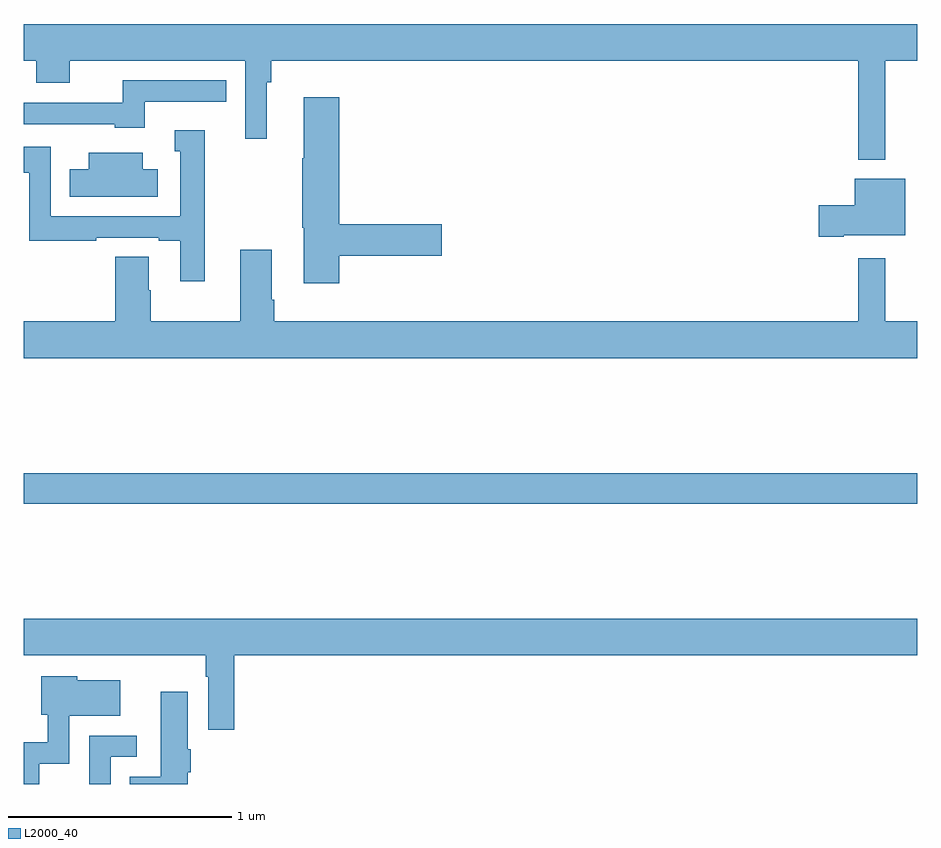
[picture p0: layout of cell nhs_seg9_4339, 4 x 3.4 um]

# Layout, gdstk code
import gdstk
lib = gdstk.Library(unit=1e-6, precision=1e-09)
def R(c, l, rs):  # rectangles x0, y0, x1, y1
    for r in rs: c.add(gdstk.rectangle(r[:2], r[2:], *l))
def P(c, l, *ps):  # polygons
    for p in ps: c.add(gdstk.Polygon(p, *l))
L2000_40 = (2000, 40)

nhs_seg9_4339 = lib.new_cell('nhs_seg9_4339')
R(nhs_seg9_4339, L2000_40, [(359,1207.756,363,1207.892)])
P(nhs_seg9_4339, L2000_40, [(362.857,1209.74),(363,1209.74),(363,1209.904),(359,1209.904),(359,1209.74),(359.054,1209.74),(359.054,1209.641),(359.206,1209.641),(359.206,1209.74),(359.991,1209.74),(359.991,1209.39),(360.088,1209.39),(360.088,1209.644),(360.107,1209.644),(360.107,1209.74),(362.736,1209.74),(362.736,1209.296),(362.857,1209.296)],
  [(359.542,1209.555),(359.906,1209.555),(359.906,1209.651),(359.443,1209.651),(359.443,1209.552),(359,1209.552),(359,1209.456),(359.406,1209.456),(359.406,1209.44),(359.542,1209.44)],
  [(360.413,1208.866),(360.871,1208.866),(360.871,1209.008),(360.413,1209.008),(360.413,1209.577),(360.254,1209.577),(360.254,1209.302),(360.247,1209.302),(360.247,1208.991),(360.254,1208.991),(360.254,1208.742),(360.413,1208.742)],
  [(359.809,1209.427),(359.675,1209.427),(359.675,1209.333),(359.7,1209.333),(359.7,1209.042),(359.121,1209.042),(359.121,1209.354),(359,1209.354),(359,1209.238),(359.023,1209.238),(359.023,1208.934),(359.324,1208.934),(359.324,1208.946),(359.603,1208.946),(359.603,1208.934),(359.699,1208.934),(359.699,1208.751),(359.809,1208.751)],
  [(359.599,1209.253),(359.533,1209.253),(359.533,1209.328),(359.291,1209.328),(359.291,1209.253),(359.206,1209.253),(359.206,1209.131),(359.599,1209.131)],
  [(362.671,1208.957),(362.947,1208.957),(362.947,1209.211),(362.72,1209.211),(362.72,1209.092),(362.559,1209.092),(362.559,1208.95),(362.671,1208.95)],
  [(363,1208.572),(362.857,1208.572),(362.857,1208.854),(362.736,1208.854),(362.736,1208.572),(360.122,1208.572),(360.122,1208.668),(360.109,1208.668),(360.109,1208.893),(359.969,1208.893),(359.969,1208.572),(359.568,1208.572),(359.568,1208.711),(359.56,1208.711),(359.56,1208.861),(359.408,1208.861),(359.408,1208.572),(359,1208.572),(359,1208.408),(363,1208.408)],
  [(359,1207.076),(359.814,1207.076),(359.814,1206.98),(359.826,1206.98),(359.826,1206.744),(359.942,1206.744),(359.942,1207.076),(363,1207.076),(363,1207.24),(359,1207.24)],
  [(359.068,1206.59),(359.202,1206.59),(359.202,1206.806),(359.431,1206.806),(359.431,1206.964),(359.238,1206.964),(359.238,1206.982),(359.078,1206.982),(359.078,1206.81),(359.106,1206.81),(359.106,1206.687),(359,1206.687),(359,1206.5),(359.068,1206.5)],
  [(359.734,1206.553),(359.747,1206.553),(359.747,1206.656),(359.734,1206.656),(359.734,1206.913),(359.612,1206.913),(359.612,1206.532),(359.473,1206.532),(359.473,1206.5),(359.734,1206.5)],
  [(359.388,1206.621),(359.506,1206.621),(359.506,1206.717),(359.292,1206.717),(359.292,1206.5),(359.388,1206.5)])

lib.write_gds('nhs_seg9_4339.gds')
